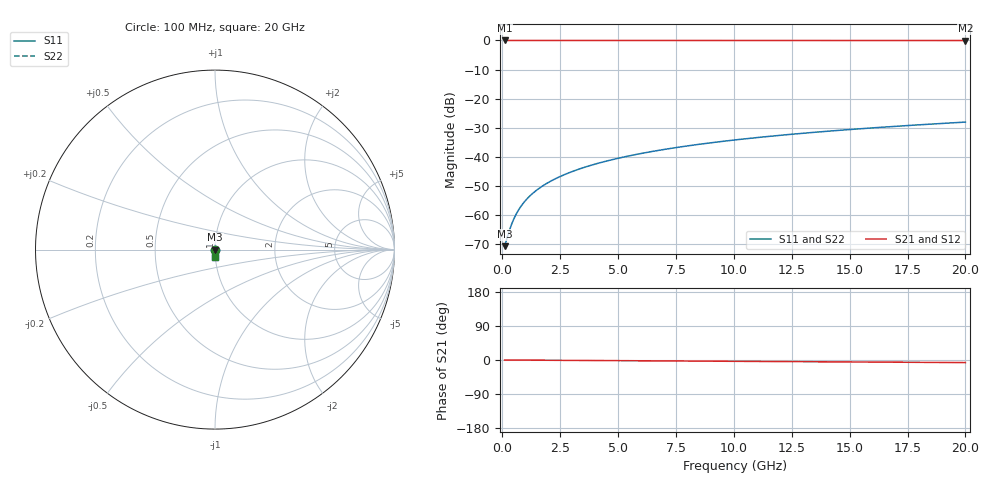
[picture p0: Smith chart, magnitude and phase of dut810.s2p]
! Touchstone file exported from HFSS 2026.1.0
!  File:  C:/ffzhzh/LocalFiles/Ansys_Project_Files/temp_train_TSV_810_1783184260_43440.aedt
!  Generated:  12:59:07 AM Jul  5, 2026
!  Design:  TSV
!  Project:  temp_train_TSV_810_1783184260_43440
! Variables:
!  h_bsmrdl = 2um
!  h_ox = 20um
!  h_rdl = 5um
!  h_sub = 69.39um
!  h_tmrdl = 5um
!  h_tsv = 69.39um
!  h_via = 3um
!  l_bsmrdl = 300um
!  l_sub = 412.32um
!  l_tmrdl = 200um
!  m_sub = 200um
!  pitch = 18.38um
!  r_tsv = 6.16um
!  s_tmrdl = 10um
!  w_bsmrdl = 18um
!  w_sub = 500um
!  w_tmrdl = 12um
!  x_tsv_center1 = 206um
!  x_tsv_center2 = 524um
!  x_tsv_center3 = 736um
!  x_tsv_center4 = 1054um
!  x_tsv_center5 = 1266um
!  x_tsv_center6 = 1584um
# GHz S MA R 50.000000
! Terminal data exported
! Port[1] = TSV1_1_T1
! Port[2] = TSV1_1_T2
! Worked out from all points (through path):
!   200 points, 100 MHz to 20 GHz, reference 50 ohm
!   highest |S21| = 0.00 dB at 100 MHz (marker M1); lowest = 0.0 dB at 20 GHz (marker M2)
!   lowest |S11| = -70.7 dB at 100 MHz (marker M3), VSWR 1.00, Z = 50 - j0.0135 ohm
!   |S11| at or under -10 dB: start of sweep to end of sweep
!   |S22| runs from -70.7 to -28.1 dB; largest |S21 - S12| = 2.2e-15
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0.1  0.0002909 -27.7  0.9997 -0.0  0.9997 -0.0  0.0002909 -27.7
! Gamma 0 0 0 0
! Port Impedance 50 0 50 0
0.3  0.0005322 -54.4  0.9997 -0.1  0.9997 -0.1  0.0005322 -54.4
0.4  0.0006895 -60.3  0.9997 -0.1  0.9997 -0.1  0.0006895 -60.3
0.5  0.0008585 -64.3  0.9996 -0.2  0.9996 -0.2  0.0008585 -64.3
0.6  0.001035 -67.3  0.9996 -0.2  0.9996 -0.2  0.001035 -67.3
0.8  0.001398 -71.6  0.9995 -0.3  0.9995 -0.3  0.001398 -71.6
1.1  0.001954 -75.6  0.9995 -0.4  0.9995 -0.4  0.001954 -75.6
1.3  0.002328 -77.4  0.9995 -0.5  0.9995 -0.5  0.002328 -77.4
1.5  0.002702 -78.8  0.9994 -0.5  0.9994 -0.5  0.002702 -78.8
1.8  0.003265 -80.3  0.9994 -0.6  0.9994 -0.6  0.003265 -80.3
2.1  0.00383 -81.4  0.9994 -0.7  0.9994 -0.7  0.00383 -81.4
2.7  0.004968 -83.0  0.9993 -0.9  0.9993 -0.9  0.004968 -83.0
3.5  0.006505 -84.3  0.9992 -1.2  0.9992 -1.2  0.006505 -84.3
4.2  0.007865 -85.1  0.9991 -1.5  0.9991 -1.5  0.007865 -85.1
5  0.009434 -85.9  0.999 -1.7  0.999 -1.7  0.009434 -85.9
5.9  0.01121 -86.7  0.9989 -2.0  0.9989 -2.0  0.01121 -86.7
6.8  0.013 -87.3  0.9988 -2.3  0.9988 -2.3  0.013 -87.3
8.3  0.016 -88.4  0.9986 -2.9  0.9986 -2.9  0.016 -88.4
10.1  0.0196 -89.4  0.9984 -3.5  0.9984 -3.5  0.0196 -89.4
13.4  0.02622 -91.1  0.9981 -4.6  0.9981 -4.6  0.02622 -91.1
16.7  0.03285 -92.6  0.9977 -5.7  0.9977 -5.7  0.03284 -92.6
20  0.03949 -94.0  0.9972 -6.8  0.9972 -6.8  0.03949 -94.0
